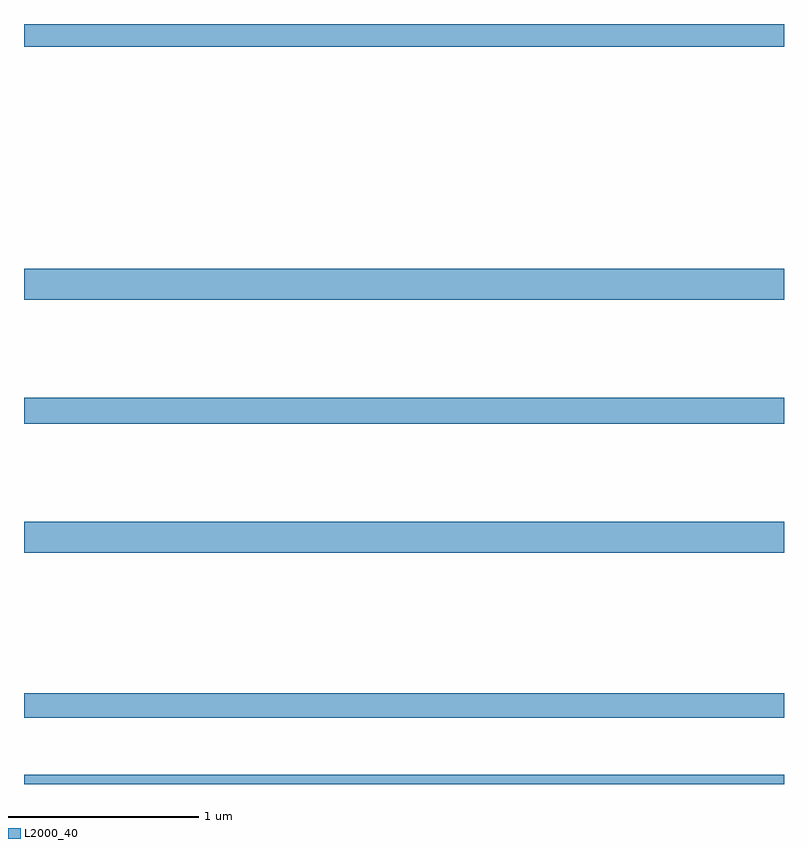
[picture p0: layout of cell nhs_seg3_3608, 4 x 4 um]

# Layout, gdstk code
import gdstk
lib = gdstk.Library(unit=1e-6, precision=1e-09)
def R(c, l, rs):  # rectangles x0, y0, x1, y1
    for r in rs: c.add(gdstk.rectangle(r[:2], r[2:], *l))
L2000_40 = (2000, 40)

nhs_seg3_3608 = lib.new_cell('nhs_seg3_3608')
R(nhs_seg3_3608, L2000_40, [(299,666.4,303,666.448), (299,666.75,303,666.878), (299,667.616,303,667.78), (299,668.296,303,668.432), (299,668.948,303,669.112), (299,670.28,303,670.4)])

lib.write_gds('nhs_seg3_3608.gds')
